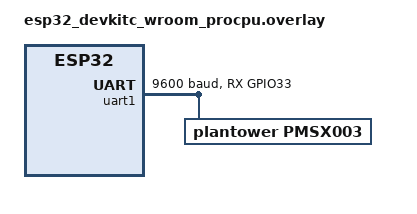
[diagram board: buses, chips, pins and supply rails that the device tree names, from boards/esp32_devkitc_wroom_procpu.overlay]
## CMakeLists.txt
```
#-------------------------------------------------------------------------------
# Zephyr Example Application
#
# Copyright (c) 2021 Nordic Semiconductor ASA
# SPDX-License-Identifier: Apache-2.0

cmake_minimum_required(VERSION 3.13.1)
find_package(Zephyr REQUIRED HINTS $ENV{ZEPHYR_BASE})

project(pmsx003 LANGUAGES C)

target_sources(app PRIVATE src/main.c)
```

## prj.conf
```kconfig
CONFIG_SENSOR=y
CONFIG_LOG=y
```

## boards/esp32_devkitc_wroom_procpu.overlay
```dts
&pinctrl {
	uart1_default: uart1_default {
		group2 {
			pinmux = <UART1_RX_GPIO33>;
			bias-pull-up;
		};
	};
};

&uart1 {
	status = "okay";
	current-speed = <9600>;
	pinctrl-0 = <&uart1_default>;
	pmsx003: pmsx003 {
		compatible = "plantower,pmsX003";
		status = "okay";
	};
};
```

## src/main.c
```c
/*
 * Copyright (c) 2017 Intel Corporation
 *
 * SPDX-License-Identifier: Apache-2.0
 */

#include <zephyr/kernel.h>
#include <zephyr/device.h>
#include <zephyr/logging/log.h>
#include <zephyr/drivers/sensor.h>

LOG_MODULE_REGISTER(MAIN);

struct pmsX003_measurments {
	struct sensor_value pm_1_0_cf;
	struct sensor_value pm_2_5_cf;
	struct sensor_value pm_10_cf;
	struct sensor_value pm_1_0_atm;
	struct sensor_value pm_2_5_atm;
	struct sensor_value pm_10_0_atm;
	struct sensor_value pm_0_3_count;
	struct sensor_value pm_0_5_count;
	struct sensor_value pm_1_0_count;
	struct sensor_value pm_2_5_count;
	struct sensor_value pm_5_0_count;
	struct sensor_value pm_10_0_count;
};

int main(void)
{
	const struct device *dev = DEVICE_DT_GET(DT_NODELABEL(pmsx003));

	if (!dev) {
		LOG_ERR("Error: no device found.");
		return 0;
	}

	if (!device_is_ready(dev)) {
		LOG_ERR("\"%s\" is not configured properly. ", dev->name);
		return 0;
	}

	struct pmsX003_measurments data;
	while (1) {
		sensor_sample_fetch(dev);
		sensor_channel_get(dev, SENSOR_CHAN_PM_1_0_CF, &data.pm_1_0_cf);
		sensor_channel_get(dev, SENSOR_CHAN_PM_2_5_CF, &data.pm_2_5_cf);
		sensor_channel_get(dev, SENSOR_CHAN_PM_10_0_CF, &data.pm_10_cf);
		sensor_channel_get(dev, SENSOR_CHAN_PM_1_0_ATM, &data.pm_1_0_atm);
		sensor_channel_get(dev, SENSOR_CHAN_PM_2_5_ATM, &data.pm_2_5_atm);
		sensor_channel_get(dev, SENSOR_CHAN_PM_10_0_ATM, &data.pm_10_0_atm);
		sensor_channel_get(dev, SENSOR_CHAN_PM_0_3_COUNT, &data.pm_0_3_count);
		sensor_channel_get(dev, SENSOR_CHAN_PM_0_5_COUNT, &data.pm_0_5_count);
		sensor_channel_get(dev, SENSOR_CHAN_PM_1_0_COUNT, &data.pm_1_0_count);
		sensor_channel_get(dev, SENSOR_CHAN_PM_2_5_COUNT, &data.pm_2_5_count);
		sensor_channel_get(dev, SENSOR_CHAN_PM_5_0_COUNT, &data.pm_5_0_count);
		sensor_channel_get(dev, SENSOR_CHAN_PM_10_0_COUNT, &data.pm_10_0_count);

		LOG_INF("pm1.0_cf = %d.%02d µg/m³", data.pm_1_0_cf.val1, data.pm_1_0_cf.val2);
		LOG_INF("pm2.5_cf = %d.%02d µg/m³", data.pm_2_5_cf.val1, data.pm_2_5_cf.val2);
		LOG_INF("pm10_cf = %d.%02d µg/m³", data.pm_10_cf.val1, data.pm_10_cf.val2);
		LOG_INF("pm1.0_atm = %d.%02d µg/m³", data.pm_1_0_atm.val1, data.pm_1_0_atm.val2);
		LOG_INF("pm2.5_atm = %d.%02d µg/m³", data.pm_2_5_atm.val1, data.pm_2_5_atm.val2);
		LOG_INF("pm10_atm = %d.%02d µg/m³", data.pm_10_0_atm.val1, data.pm_10_0_atm.val2);
		LOG_INF("pm0.3_count = %d particles/0.1L", data.pm_0_3_count.val1);
		LOG_INF("pm0.5_count = %d particles/0.1L", data.pm_0_5_count.val1);
		LOG_INF("pm1.0_count = %d particles/0.1L", data.pm_1_0_count.val1);
		LOG_INF("pm2.5_count = %d particles/0.1L", data.pm_2_5_count.val1);
		LOG_INF("pm5.0_count = %d particles/0.1L", data.pm_5_0_count.val1);
		LOG_INF("pm10_count = %d particles/0.1L", data.pm_10_0_count.val1);

		k_sleep(K_SECONDS(10));
	}
	return 0;
}
```
